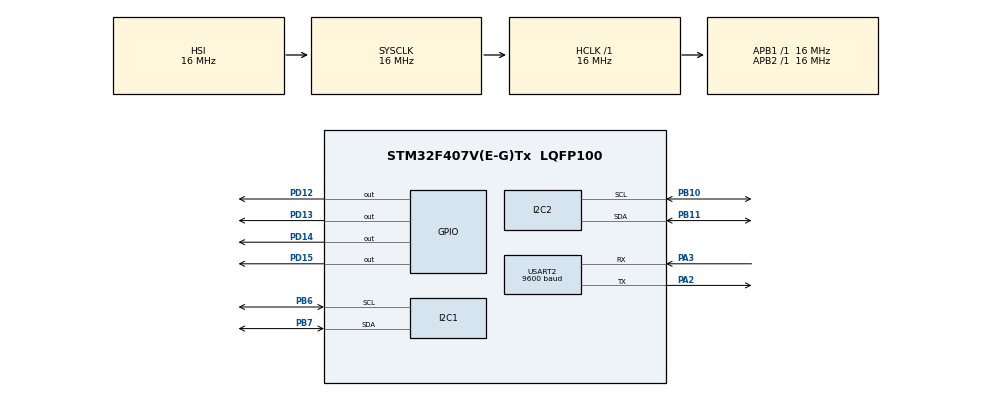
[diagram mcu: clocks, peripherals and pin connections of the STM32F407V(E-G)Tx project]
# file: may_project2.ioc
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Mcu.Family=STM32F4
PH0-OSC_IN.Signal=RCC_OSC_IN
RCC.CortexFreq_Value=16000000
PB10.Mode=I2C
PB11.Signal=I2C2_SDA
USART2.BaudRate=9600
ProjectManager.StackSize=0x400
PD13.Signal=GPIO_Output
PA3.Mode=Asynchronous
PB11.Mode=I2C
ProjectManager.TargetToolchain=MDK-ARM V5.27
PB6.Signal=I2C1_SCL
PB6.Mode=I2C
RCC.LSE_VALUE=32768
RCC.AHBFreq_Value=16000000
PH0-OSC_IN.Mode=HSE-External-Oscillator
PB10.Signal=I2C2_SCL
RCC.HSE_VALUE=25000000
board=custom
RCC.VCOOutputFreq_Value=192000000
RCC.APB2Freq_Value=16000000
PH1-OSC_OUT.Signal=RCC_OSC_OUT
PB7.Signal=I2C1_SDA
Mcu.Name=STM32F407V(E-G)Tx
PA2.Signal=USART2_TX
PD14.Signal=GPIO_Output
PH1-OSC_OUT.Mode=HSE-External-Oscillator
RCC.SYSCLKFreq_VALUE=16000000
Mcu.Package=LQFP100
USART2.VirtualMode=VM_ASYNC
PD12.Signal=GPIO_Output
PB7.Mode=I2C
ProjectManager.HeapSize=0x200
RCC.HSI_VALUE=16000000
NVIC.PriorityGroup=NVIC_PRIORITYGROUP_4
PA2.Mode=Asynchronous
RCC.APB1Freq_Value=16000000
PD15.Signal=GPIO_Output
PA3.Signal=USART2_RX

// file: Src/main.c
/* USER CODE BEGIN Header */
/**
  ******************************************************************************
  * @file           : main.c
  * @brief          : Main program body
  ******************************************************************************
  * @attention
  *
  * <h2><center>&copy; Copyright (c) 2020 STMicroelectronics.
  * All rights reserved.</center></h2>
  *
  * This software component is licensed by ST under BSD 3-Clause license,
  * the "License"; You may not use this file except in compliance with the
  * License. You may obtain a copy of the License at:
  *                        opensource.org/licenses/BSD-3-Clause
  *
  ******************************************************************************
  */
/* USER CODE END Header */

#include "main.h"

/* USER CODE BEGIN Includes */
#include <math.h>
#include  <string.h>
#include  <stdlib.h>
#include  <stdint.h>
#include  <stdio.h>
/* USER CODE END Includes */

/* USER CODE BEGIN PTD */
#define CCS811_ADDR 0xB4 //7-bit unshifted default I2C Address
#define CSS811_STATUS 0x00
#define CSS811_MEAS_MODE 0x01
#define CSS811_ALG_RESULT_DATA 0x02
#define CSS811_RAW_DATA 0x03
#define CSS811_ENV_DATA 0x05
#define CSS811_NTC 0x06
#define CSS811_THRESHOLDS 0x10
#define CSS811_BASELINE 0x11
#define CSS811_HW_ID 0x20
#define CSS811_HW_VERSION 0x21
#define CSS811_FW_BOOT_VERSION 0x23
#define CSS811_FW_APP_VERSION 0x24
#define CSS811_ERROR_ID 0xE0
#define CSS811_APP_START 0xF4
#define CSS811_SW_RESET 0xFF

#define BME280_ADDRESS  0xEC//BME280 I2C ADDRES (0x76<<1)0xEC
#define BME280_REG_ID 0xD0 //BME280 ID REGISTER
#define BME280_ID 0x60 //BME280 I2C ID
#define BME280_REG_SOFTRESET 0xE0 //BME280 SOFT RESET REGISTER
#define BME280_SOFTRESET_VALUE 0xB6 //BME280 SOFT RESET VALUE
#define BME280_REGISTER_STATUS 0XF3 //BME280 STATUS REGISTER
#define BME280_STATUS_MEASURING 0X08 //Running conversion
#define BME280_STATUS_IM_UPDATE 0X01 //NVM data copying
#define BME280_REG_CONFIG 0xF5 // Configuration register
#define BME280_REG_CTRL_HUM 0xF2 // Humidity measure control register
#define BME280_REG_CTRL_MEAS 0xF4 // Control register pressure and temperature measure
#define BME280_REGISTER_DIG_T1 0x88
#define BME280_REGISTER_DIG_T2 0x8A
#define BME280_REGISTER_DIG_T3 0x8C
#define BME280_REGISTER_DIG_P1 0x8E
#define BME280_REGISTER_DIG_P2 0x90
#define BME280_REGISTER_DIG_P3 0x92
#define BME280_REGISTER_DIG_P4 0x94
#define BME280_REGISTER_DIG_P5 0x96
#define BME280_REGISTER_DIG_P6 0x98
#define BME280_REGISTER_DIG_P7 0x9A
#define BME280_REGISTER_DIG_P8 0x9C
#define BME280_REGISTER_DIG_P9 0x9E
#define BME280_REGISTER_DIG_H1 0xA1
#define BME280_REGISTER_DIG_H2 0xE1
#define BME280_REGISTER_DIG_H3 0xE3
#define BME280_REGISTER_DIG_H4 0xE4
#define BME280_REGISTER_DIG_H5 0xE5
#define BME280_REGISTER_DIG_H6 0xE7
#define BME280_STBY_MSK 0xE0
#define BME280_STBY_0_5 0x00
#define BME280_STBY_62_5 0x20
#define BME280_STBY_125 0x40
#define BME280_STBY_250 0x60
#define BME280_STBY_500 0x80
#define BME280_STBY_1000 0xA0
#define BME280_STBY_10 0xC0
#define BME280_STBY_20 0xE0
#define BME280_FILTER_MSK 0x1C
#define BME280_FILTER_OFF 0x00
#define BME280_FILTER_2 0x04
#define BME280_FILTER_4 0x08
#define BME280_FILTER_8 0x0C
#define BME280_FILTER_16 0x10
#define BME280_OSRS_T_MSK 0xE0
#define BME280_OSRS_T_SKIP 0x00
#define BME280_OSRS_T_x1 0x20
#define BME280_OSRS_T_x2 0x40
#define BME280_OSRS_T_x4 0x60
#define BME280_OSRS_T_x8 0x80
#define BME280_OSRS_T_x16 0xA0
#define BME280_OSRS_P_MSK 0x1C
#define BME280_OSRS_P_SKIP 0x00
#define BME280_OSRS_P_x1 0x04
#define BME280_OSRS_P_x2 0x08
#define BME280_OSRS_P_x4 0x0C
#define BME280_OSRS_P_x8 0x10
#define BME280_OSRS_P_x16 0x14
#define BME280_OSRS_H_MSK 0x07
#define BME280_OSRS_H_SKIP 0x00
#define BME280_OSRS_H_x1 0x01
#define BME280_OSRS_H_x2 0x02
#define BME280_OSRS_H_x4 0x03
#define BME280_OSRS_H_x8 0x04
#define BME280_OSRS_H_x16 0x05
#define BME280_MODE_MSK 0x03
#define BME280_MODE_SLEEP 0x00
#define BME280_MODE_FORCED 0x01
#define BME280_MODE_NORMAL 0x03
#define BME280_REGISTER_PRESSUREDATA 0xF7
#define BME280_REGISTER_TEMPDATA 0xFA
#define BME280_REGISTER_HUMIDDATA 0xFD
#define be16toword(a) ((((a)>>8)&0xff)|(((a)<<8)&0xff00))
#define be24toword(a) ((((a)>>16)&0x000000ff)|((a)&0x0000ff00)|(((a)<<16)&0x00ff0000))
#define SEALEVELPRESSURE_HPA (1013.25)
#define SEALEVELPRESSURE_PA (1013250)
/* USER CODE END PTD */

/* USER CODE BEGIN PD */
uint8_t dt;
char buffer[16];
uint32_t restore_Baselines;

uint8_t nr[] = "\n\r";
uint8_t str_sensor1[] = "\nSensor 1: "; //11
uint8_t str_sensor2[] = "\nSensor 2: "; //11
uint8_t str_counter[] = "\nCounter: "; //10
uint8_t str_sum[] = "\nSum: "; //6
uint8_t str_resistance[] = "\nResistance: "; //13
uint8_t str_baseline[] = "\nBaseline: "; //11
uint8_t str_CO2[] = "\nCO2: "; //6
uint8_t str_tVOC[] = "\nVOC: "; //6
uint8_t str_new[] = "\n=== new_While ==="; //18
uint8_t str_sensor_status[] = "\n\rCCS811 status is: "; //20
uint8_t str_hw_id[] = "\n\rCCS811 hw_id is: "; //19
uint8_t str_hw_version[] = "\n\rCCS811 version is: "; //21
uint8_t str_boot_version[] = "\n\rCCS811 boot version is: "; //26
uint8_t str_app_version[] = "\n\rCCS811 app version is: "; //25
uint8_t str_sensor_mode[] = "\n\rCCS811 mode is: "; //18
uint8_t str_excel_tabulation[] = "\t";

typedef struct {
    uint16_t dig_T1;
    int16_t dig_T2;
    int16_t dig_T3;
    uint16_t dig_P1;
    int16_t dig_P2;
    int16_t dig_P3;
    int16_t dig_P4;
    int16_t dig_P5;
    int16_t dig_P6;
    int16_t dig_P7;
    int16_t dig_P8;
    int16_t dig_P9;
    uint8_t dig_H1;
    int16_t dig_H2;
    uint8_t dig_H3;
    int16_t dig_H4;
    int16_t dig_H5;
    int8_t dig_H6;
} BME280_CalibData;
/* USER CODE END PD */

/* USER CODE BEGIN PM */
void ConfigureCCS811(void);

void ReadAlgorithmResults(void);

void SetDriveMode(uint8_t mode);

uint8_t ReadRegister(uint8_t addr);

void WriteRegister(uint8_t addr, uint8_t val);

void CheckSensorInfo(void);

void SensorReset(void);

uint32_t GetSensorResistance(void);

unsigned int GetBaseline(void);

void RestoreBaseline(void);

//BME280
void Error(void);

void BME280_Init(void);

static uint8_t I2Cx_ReadData(uint16_t Addr, uint8_t Reg);

static void I2Cx_WriteData(uint16_t Addr, uint8_t Reg, uint8_t Value);

static void I2Cx_ReadData16(uint16_t Addr, uint8_t Reg, uint16_t *Value);

static void I2Cx_ReadData24(uint16_t Addr, uint8_t Reg, uint32_t *Value);

void BME280_WriteReg(uint8_t Reg, uint8_t Value);

uint8_t BME280_ReadReg(uint8_t Reg);

void BME280_ReadReg_U16(uint8_t Reg, uint16_t *Value);

void BME280_ReadReg_S16(uint8_t Reg, int16_t *Value);

void BME280_ReadCoefficients(void);

void BME280_SetStandby(uint8_t tsb);

void BME280_SetFilter(uint8_t filter);

void BME280_SetOversamplingTemper(uint8_t osrs);

void BME280_SetOversamplingPressure(uint8_t osrs);

void BME280_SetOversamplingHum(uint8_t osrs);

void BME280_SetMode(uint8_t mode);

float BME280_ReadTemperature(void);

float BME280_ReadPressure(void);

float BME280_ReadHumidity(void);

float BME280_ReadAltitude(float seaLevel);

void BME280_ReadReg_U24(uint8_t Reg, uint32_t *Value);

void BME280_ReadReg_BE_U24(uint8_t Reg, uint32_t *Value);

void BME280_ReadReg_BE_S16(uint8_t Reg, int16_t *Value);
/* USER CODE END PM */

I2C_HandleTypeDef hi2c1;
I2C_HandleTypeDef hi2c2;

UART_HandleTypeDef huart2;

void SystemClock_Config(void);

static void MX_GPIO_Init(void);

static void MX_I2C1_Init(void);

static void MX_I2C2_Init(void);

static void MX_USART2_UART_Init(void);

/* USER CODE BEGIN 0 */
unsigned int tVOC = 0;
unsigned int CO2 = 0;

unsigned int tVOC_2 = 0;
unsigned int CO2_2 = 0;

unsigned int CO2_ResultValue = 0;
unsigned int tVOC_ResultValue = 0;

uint16_t adc_raw = 0;
uint8_t current_value = 0;
uint8_t dummyread = 0;
uint8_t appvalue = 0;
uint8_t errvalue = 0;
uint8_t mosetting = 0;
uint8_t dtvalue = 0;
uint8_t appStart = 0;
uint32_t ELBaseline_period = 0;
uint32_t ALBaseline_period = 0;
uint8_t Mode_CCS811 = 1;

//bmp280
char str1[100];
uint8_t value = 0;
uint32_t value32 = 0;
float tf = 0.0f, pf = 0.0f, af = 0.0f, hf = 0.0f;
BME280_CalibData CalibData;
int32_t temper_int;
/* USER CODE END 0 */

int main(void) {

    /* MCU Configuration--------------------------------------------------------*/

    /* Reset of all peripherals, Initializes the Flash interface and the Systick. */
    HAL_Init();

    /* Configure the system clock */
    SystemClock_Config();

    /* Initialize all configured peripherals */
    MX_GPIO_Init();
    MX_I2C1_Init();
    MX_I2C2_Init();
    MX_USART2_UART_Init();

    /* Infinite loop */
    /* USER CODE BEGIN WHILE */
    HAL_GPIO_WritePin(GPIOD, GPIO_PIN_12, GPIO_PIN_SET);
    ConfigureCCS811();
    HAL_GPIO_WritePin(GPIOD, GPIO_PIN_13, GPIO_PIN_SET);
    RestoreBaseline();
    HAL_GPIO_WritePin(GPIOD, GPIO_PIN_14, GPIO_PIN_SET);
    CheckSensorInfo();
    HAL_GPIO_WritePin(GPIOD, GPIO_PIN_15, GPIO_PIN_SET);

    BME280_Init();
    //value = BME280_ReadReg(BME280_REG_ID);

    int counter = 0;
    while (1) {
        //HAL_UART_Transmit(&huart1, str_new, 18, 100);
        HAL_UART_Transmit(&huart2, nr, 1, 100);

        ReadAlgorithmResults();

        HAL_UART_Transmit(&huart2, str_counter, 10, 100);
        HAL_UART_Transmit(&huart2, (uint8_t *) buffer, sprintf(buffer, "%d", counter), 100);
        HAL_UART_Transmit(&huart2, str_CO2, 6, 100);
        HAL_UART_Transmit(&huart2, (uint8_t *) buffer, sprintf(buffer, "%d", CO2), 100);
        HAL_UART_Transmit(&huart2, str_tVOC, 7, 100);
        HAL_UART_Transmit(&huart2, (uint8_t *) buffer, sprintf(buffer, "%d", tVOC), 100);

        tf = BME280_ReadTemperature();
        sprintf(str1, "\nTemperature: %.3f *C", tf);
        HAL_UART_Transmit(&huart2, (uint8_t *) str1, strlen(str1), 0x1000);

        pf = BME280_ReadPressure();
        sprintf(str1, "\nPressure: %.3f Pa; %.3f hPa; %.3f mmHg", pf, pf / 1000.0f, pf * 0.000750061683f);
        HAL_UART_Transmit(&huart2, (uint8_t *) str1, strlen(str1), 0x1000);

        af = BME280_ReadAltitude(SEALEVELPRESSURE_PA);
        sprintf(str1, "\nAltitude: %.3f m", af);
        HAL_UART_Transmit(&huart2, (uint8_t *) str1, strlen(str1), 0x1000);

        hf = BME280_ReadHumidity();
        sprintf(str1, "\nHumidity: %.3f %%", hf);
        HAL_UART_Transmit(&huart2, (uint8_t *) str1, strlen(str1), 0x1000);

        //HAL_UART_Transmit(&huart2, str_excel_tabulation, 1, 100);
        //HAL_UART_Transmit(&huart2, (uint8_t*) buffer, sprintf(buffer, "%d", CO2_2), 100);
        //HAL_UART_Transmit(&huart2, str_excel_tabulation, 1, 100);
        //HAL_UART_Transmit(&huart2, (uint8_t*) buffer, sprintf(buffer, "%d", tVOC_2), 100);

        HAL_Delay(1000);
        HAL_GPIO_TogglePin(GPIOD, GPIO_PIN_15);

        counter++;

        /* USER CODE END WHILE */

    }
}

void SystemClock_Config(void) {
    RCC_OscInitTypeDef RCC_OscInitStruct = {0};
    RCC_ClkInitTypeDef RCC_ClkInitStruct = {0};

    /** Configure the main internal regulator output voltage
    */
    __HAL_RCC_PWR_CLK_ENABLE();
    __HAL_PWR_VOLTAGESCALING_CONFIG(PWR_REGULATOR_VOLTAGE_SCALE1);
    /** Initializes the CPU, AHB and APB busses clocks
    */
    RCC_OscInitStruct.OscillatorType = RCC_OSCILLATORTYPE_HSI;
    RCC_OscInitStruct.HSIState = RCC_HSI_ON;
    RCC_OscInitStruct.HSICalibrationValue = RCC_HSICALIBRATION_DEFAULT;
    RCC_OscInitStruct.PLL.PLLState = RCC_PLL_NONE;
    if (HAL_RCC_OscConfig(&RCC_OscInitStruct) != HAL_OK) {
        Error_Handler();
    }
    /** Initializes the CPU, AHB and APB busses clocks
    */
    RCC_ClkInitStruct.ClockType = RCC_CLOCKTYPE_HCLK | RCC_CLOCKTYPE_SYSCLK
                                  | RCC_CLOCKTYPE_PCLK1 | RCC_CLOCKTYPE_PCLK2;
    RCC_ClkInitStruct.SYSCLKSource = RCC_SYSCLKSOURCE_HSI;
    RCC_ClkInitStruct.AHBCLKDivider = RCC_SYSCLK_DIV1;
    RCC_ClkInitStruct.APB1CLKDivider = RCC_HCLK_DIV1;
    RCC_ClkInitStruct.APB2CLKDivider = RCC_HCLK_DIV1;

    if (HAL_RCC_ClockConfig(&RCC_ClkInitStruct, FLASH_LATENCY_0) != HAL_OK) {
        Error_Handler();
    }
}

static void MX_I2C1_Init(void) {

    hi2c1.Instance = I2C1;
    hi2c1.Init.ClockSpeed = 100000;
    hi2c1.Init.DutyCycle = I2C_DUTYCYCLE_2;
    hi2c1.Init.OwnAddress1 = 0;
    hi2c1.Init.AddressingMode = I2C_ADDRESSINGMODE_7BIT;
    hi2c1.Init.DualAddressMode = I2C_DUALADDRESS_DISABLE;
    hi2c1.Init.OwnAddress2 = 0;
    hi2c1.Init.GeneralCallMode = I2C_GENERALCALL_DISABLE;
    hi2c1.Init.NoStretchMode = I2C_NOSTRETCH_DISABLE;
    if (HAL_I2C_Init(&hi2c1) != HAL_OK) {
        Error_Handler();
    }

}

static void MX_I2C2_Init(void) {

    hi2c2.Instance = I2C2;
    hi2c2.Init.ClockSpeed = 100000;
    hi2c2.Init.DutyCycle = I2C_DUTYCYCLE_2;
    hi2c2.Init.OwnAddress1 = 0;
    hi2c2.Init.AddressingMode = I2C_ADDRESSINGMODE_7BIT;
    hi2c2.Init.DualAddressMode = I2C_DUALADDRESS_DISABLE;
    hi2c2.Init.OwnAddress2 = 0;
    hi2c2.Init.GeneralCallMode = I2C_GENERALCALL_DISABLE;
    hi2c2.Init.NoStretchMode = I2C_NOSTRETCH_DISABLE;
    if (HAL_I2C_Init(&hi2c2) != HAL_OK) {
        Error_Handler();
    }

}

static void MX_USART2_UART_Init(void) {

    huart2.Instance = USART2;
    huart2.Init.BaudRate = 9600;
    huart2.Init.WordLength = UART_WORDLENGTH_8B;
    huart2.Init.StopBits = UART_STOPBITS_1;
    huart2.Init.Parity = UART_PARITY_NONE;
    huart2.Init.Mode = UART_MODE_TX_RX;
    huart2.Init.HwFlowCtl = UART_HWCONTROL_NONE;
    huart2.Init.OverSampling = UART_OVERSAMPLING_16;
    if (HAL_UART_Init(&huart2) != HAL_OK) {
        Error_Handler();
    }

}

static void MX_GPIO_Init(void) {
    GPIO_InitTypeDef GPIO_InitStruct = {0};

    /* GPIO Ports Clock Enable */
    __HAL_RCC_GPIOH_CLK_ENABLE();
    __HAL_RCC_GPIOA_CLK_ENABLE();
    __HAL_RCC_GPIOB_CLK_ENABLE();
    __HAL_RCC_GPIOD_CLK_ENABLE();

    /*Configure GPIO pin Output Level */
    HAL_GPIO_WritePin(GPIOD, GPIO_PIN_12 | GPIO_PIN_13 | GPIO_PIN_14 | GPIO_PIN_15, GPIO_PIN_RESET);

    /*Configure GPIO pins : PD12 PD13 PD14 PD15 */
    GPIO_InitStruct.Pin = GPIO_PIN_12 | GPIO_PIN_13 | GPIO_PIN_14 | GPIO_PIN_15;
    GPIO_InitStruct.Mode = GPIO_MODE_OUTPUT_PP;
    GPIO_InitStruct.Pull = GPIO_NOPULL;
    GPIO_InitStruct.Speed = GPIO_SPEED_FREQ_LOW;
    HAL_GPIO_Init(GPIOD, &GPIO_InitStruct);

}

/* USER CODE BEGIN 4 */

void ConfigureCCS811() {
    HAL_Delay(69);
    //Verify the hardware ID is what we expect
    uint8_t hwID = ReadRegister(0x20); //Hardware ID should be 0x81
    if (hwID != 0x81) { //Serial.println("CCS811 not found. Please check wiring.");
        while (1); //Freeze
    }
    uint8_t lodata[1];
    lodata[0] = CSS811_APP_START;
    HAL_I2C_Master_Transmit(&hi2c1, CCS811_ADDR, lodata, 1, 100);
    HAL_Delay(20);
    SetDriveMode(Mode_CCS811); //Read every second
    HAL_Delay(10);
}

void ReadAlgorithmResults() {
    uint8_t data_rq[4];
    uint8_t status = HAL_I2C_Mem_Read(&hi2c1, CCS811_ADDR, (uint8_t) CSS811_ALG_RESULT_DATA, I2C_MEMADD_SIZE_8BIT,
                                      data_rq, 4, 100);
    uint8_t co2MSB = data_rq[0];
    uint8_t co2LSB = data_rq[1];
    uint8_t tvocMSB = data_rq[2];
    uint8_t tvocLSB = data_rq[3];
/*  TVOC value, in parts per billion (ppb)
		eC02 value, in parts per million (ppm)*/
    CO2 = ((unsigned int) co2MSB << 8) | co2LSB;
    tVOC = ((unsigned int) tvocMSB << 8) | tvocLSB;
}

void SetDriveMode(uint8_t mode) {
    if (mode > 4) mode = 4; //Error correction
    mosetting = ReadRegister(CSS811_MEAS_MODE); //Read what's currently there
    mosetting &= ~(7 << 4); //Clear DRIVE_MODE bits
    mosetting |= (mode << 4); //Mask in mode
    WriteRegister(CSS811_MEAS_MODE, mosetting);
    mosetting = ReadRegister(CSS811_MEAS_MODE); //Read what's currently there
}

void WriteRegister(uint8_t addr, uint8_t val) {
    HAL_I2C_Mem_Write(&hi2c1, CCS811_ADDR, (uint8_t) addr, I2C_MEMADD_SIZE_8BIT, &val, 1, 300);
    while (HAL_I2C_GetState(&hi2c1) != HAL_I2C_STATE_READY) {}
    while (HAL_I2C_IsDeviceReady(&hi2c1, CCS811_ADDR, 10, 300) == HAL_TIMEOUT);
    while (HAL_I2C_GetState(&hi2c1) != HAL_I2C_STATE_READY) {}
}

uint8_t ReadRegister(uint8_t addr) {
    uint8_t dt;
    HAL_I2C_Mem_Read(&hi2c1, CCS811_ADDR, (uint8_t) addr, 1, &dt, 1, 300);
    while (HAL_I2C_GetState(&hi2c1) != HAL_I2C_STATE_READY);
    return dt;
}

void CheckSensorInfo(void) {
    uint16_t temp = 0;
    temp = ReadRegister(0x00);
    HAL_UART_Transmit(&huart2, str_sensor_status, 20, 100);
    HAL_UART_Transmit(&huart2, (uint8_t *) buffer, sprintf(buffer, "%d", temp), 100);

    temp = ReadRegister(0x20);
    HAL_UART_Transmit(&huart2, str_hw_id, 19, 100);
    HAL_UART_Transmit(&huart2, (uint8_t *) buffer, sprintf(buffer, "%d", temp), 100);

    temp = ReadRegister(0x21);
    HAL_UART_Transmit(&huart2, str_hw_version, 21, 100);
    HAL_UART_Transmit(&huart2, (uint8_t *) buffer, sprintf(buffer, "%d", temp), 100);

    temp = ReadRegister(0x23);
    HAL_UART_Transmit(&huart2, str_boot_version, 26, 100);
    HAL_UART_Transmit(&huart2, (uint8_t *) buffer, sprintf(buffer, "%d", temp), 100);

    temp = ReadRegister(0x24);
    HAL_UART_Transmit(&huart2, str_app_version, 25, 100);
    HAL_UART_Transmit(&huart2, (uint8_t *) buffer, sprintf(buffer, "%d", temp), 100);

    temp = ReadRegister(0x01);
    HAL_UART_Transmit(&huart2, str_sensor_mode, 18, 100);
    HAL_UART_Transmit(&huart2, (uint8_t *) buffer, sprintf(buffer, "%d", temp), 100);
    HAL_UART_Transmit(&huart2, nr, 1, 100);
}

void SensorReset(void) {
    uint8_t rstCMD[5] = {CSS811_SW_RESET, 0x11, 0xE5, 0x72, 0x8A};
    HAL_I2C_Mem_Write(&hi2c1, CCS811_ADDR, CSS811_SW_RESET, I2C_MEMADD_SIZE_8BIT, rstCMD, 5, 300);
    while (HAL_I2C_GetState(&hi2c1) != HAL_I2C_STATE_READY);
}

/*
  * @brief  	 //restore the baseline value
	//Used for telling sensor what 'clean' air is
	//You must put the sensor in clean air and record this value
  * @param  NONE.
  * @retval NONE.
*/
void RestoreBaseline() {
    uint32_t restore_Baseline = 30000;
    //restore_Baseline= * ((  uint32_t *)DATA_EEPROM_BASE);
    restore_Baselines = restore_Baseline;
    uint8_t res_bs[2];
    res_bs[0] = restore_Baseline >> 8;
    res_bs[1] = restore_Baseline & 0x000000FF;
    HAL_I2C_Mem_Write(&hi2c1, CCS811_ADDR, CSS811_BASELINE, I2C_MEMADD_SIZE_8BIT, res_bs, 2, 300);
    while (HAL_I2C_GetState(&hi2c1) != HAL_I2C_STATE_READY) {}
}

/*
  * @brief  	//Returns the baseline value and saves into EEPROM
	//Used for telling sensor what 'clean' air is
	//You must put the sensor in clean air and record this value
  * @param  NONE.
  * @retval BASELINE VALUE.
 */
unsigned int GetBaseline() {
    uint8_t ada[2];
    HAL_StatusTypeDef status = HAL_OK;
    if (status) {}
    status = HAL_I2C_Mem_Read(&hi2c1, CCS811_ADDR, (uint8_t) CSS811_BASELINE, 1, ada, 2, 100);
    while (HAL_I2C_GetState(&hi2c1) != HAL_I2C_STATE_READY) {}
    while (HAL_I2C_IsDeviceReady(&hi2c1, CCS811_ADDR, 10, 300) == HAL_TIMEOUT);
    while (HAL_I2C_GetState(&hi2c1) != HAL_I2C_STATE_READY) {}

    uint8_t baselineMSB = ada[0];
    uint8_t baselineLSB = ada[1];

    unsigned int baseline = ((unsigned int) baselineMSB << 8) | baselineLSB;
    //HAL_FLASHEx_DATAEEPROM_Unlock();
    //HAL_FLASHEx_DATAEEPROM_Program(FLASH_TYPEPROGRAMDATA_WORD, DATA_EEPROM_BASE, baseline);
    return (baseline);
}

uint32_t GetSensorResistance() {
    uint8_t sensor_Resistance_raw[2];
    uint32_t sensor_Resistance;
    HAL_I2C_Mem_Read(&hi2c1, CCS811_ADDR, CSS811_RAW_DATA, I2C_MEMADD_SIZE_8BIT, sensor_Resistance_raw, 2, 100);
    current_value = sensor_Resistance_raw[0] >> 2;
    sensor_Resistance_raw[0] = sensor_Resistance_raw[0] & 0x03;
    adc_raw = (sensor_Resistance_raw[0] << 8) | sensor_Resistance_raw[1];
    sensor_Resistance = ((165 * adc_raw) * 10000) / (current_value * 1023);
    return sensor_Resistance;
}

/* BME280 */
void Error(void) {
    while (1);
}

uint8_t BME280_ReadStatus(void) {
    //clear unuset bits
    uint8_t res = BME280_ReadReg(BME280_REGISTER_STATUS) & 0x09;
    return res;
}

void BME280_Init(void) {
    value = BME280_ReadReg(BME280_REG_ID);
    HAL_UART_Transmit(&huart2, nr, 1, 100);
    HAL_UART_Transmit(&huart2, (uint8_t *) buffer, sprintf(buffer, "%d", value), 100);
    HAL_UART_Transmit(&huart2, nr, 1, 100);
    if (value != BME280_ID) {
        Error();
    }
    BME280_WriteReg(BME280_REG_SOFTRESET, BME280_SOFTRESET_VALUE);
    while (BME280_ReadStatus() & BME280_STATUS_IM_UPDATE);
    BME280_ReadCoefficients();
    BME280_SetStandby(BME280_STBY_1000);
    BME280_SetFilter(BME280_FILTER_4);
    BME280_SetOversamplingTemper(BME280_OSRS_T_x4);
    BME280_SetOversamplingPressure(BME280_OSRS_P_x1);
    BME280_SetOversamplingHum(BME280_OSRS_H_x1);
    value32 = BME280_ReadReg(BME280_REG_CTRL_MEAS);
    value32 |= BME280_ReadReg(BME280_REG_CTRL_HUM) << 8;
    sprintf(str1, "\nMeasurements status: %04X", value32);
    HAL_UART_Transmit(&huart2, (uint8_t *) str1, strlen(str1), 0x1000);
    sprintf(str1, "\nTemperature: %s\nPressure: %s\nHumidity: %s",
            (value32 & BME280_OSRS_T_MSK) ? "ON" : "OFF",
            (value32 & BME280_OSRS_P_MSK) ? "ON" : "OFF",
            ((value32 >> 8) & BME280_OSRS_H_MSK) ? "ON" : "OFF");
    HAL_UART_Transmit(&huart2, (uint8_t *) str1, strlen(str1), 0x1000);
    BME280_SetMode(BME280_MODE_NORMAL);
}

static void I2Cx_WriteData(uint16_t Addr, uint8_t Reg, uint8_t Value) {
    HAL_StatusTypeDef status = HAL_OK;
    status = HAL_I2C_Mem_Write(&hi2c2, Addr, (uint16_t) Reg, I2C_MEMADD_SIZE_8BIT, &Value, 1, 0x10000);
    if (status != HAL_OK) Error();
}

//------------------------------------------------

static uint8_t I2Cx_ReadData(uint16_t Addr, uint8_t Reg) {
    HAL_StatusTypeDef status = HAL_OK;
    uint8_t value = 0;
    status = HAL_I2C_Mem_Read(&hi2c2, Addr, Reg, I2C_MEMADD_SIZE_8BIT, &value, 1, 0x10000);
    if (status != HAL_OK) Error();
    return value;
}

static void I2Cx_ReadData16(uint16_t Addr, uint8_t Reg, uint16_t *Value) {
    HAL_StatusTypeDef status = HAL_OK;
    status = HAL_I2C_Mem_Read(&hi2c2, Addr, Reg, I2C_MEMADD_SIZE_8BIT, (uint8_t *) Value, 2, 0x10000);
    if (status != HAL_OK) Error();
}

//------------------------------------------------

static void I2Cx_ReadData24(uint16_t Addr, uint8_t Reg, uint32_t *Value) {
    HAL_StatusTypeDef status = HAL_OK;
    status = HAL_I2C_Mem_Read(&hi2c2, Addr, Reg, I2C_MEMADD_SIZE_8BIT, (uint8_t *) Value, 3, 0x10000);
    if (status != HAL_OK) Error();
}

void BME280_WriteReg(uint8_t Reg, uint8_t Value) {
    I2Cx_WriteData(BME280_ADDRESS, Reg, Value);
}

uint8_t BME280_ReadReg(uint8_t Reg) {
    uint8_t res = I2Cx_ReadData(BME280_ADDRESS, Reg);
    return res;
}

void BME280_ReadReg_U16(uint8_t Reg, uint16_t *Value) {
    I2Cx_ReadData16(BME280_ADDRESS, Reg, Value);
}

void BME280_ReadReg_S16(uint8_t Reg, int16_t *Value) {
    I2Cx_ReadData16(BME280_ADDRESS, Reg, (uint16_t *) Value);
}

void BME280_ReadCoefficients(void) {
    BME280_ReadReg_U16(BME280_REGISTER_DIG_T1, &CalibData.dig_T1);
    sprintf(str1, "DIG_T1: %urn", CalibData.dig_T1);
    HAL_UART_Transmit(&huart2, (uint8_t *) str1, strlen(str1), 0x1000);
    BME280_ReadReg_S16(BME280_REGISTER_DIG_T2, &CalibData.dig_T2);
    sprintf(str1, "DIG_T2: %drn", CalibData.dig_T2);
    HAL_UART_Transmit(&huart2, (uint8_t *) str1, strlen(str1), 0x1000);
    BME280_ReadReg_S16(BME280_REGISTER_DIG_T3, &CalibData.dig_T3);
    sprintf(str1, "DIG_T3: %drn", CalibData.dig_T3);
    HAL_UART_Transmit(&huart2, (uint8_t *) str1, strlen(str1), 0x1000);
    BME280_ReadReg_U16(BME280_REGISTER_DIG_P1, &CalibData.dig_P1);
    sprintf(str1, "DIG_P1: %urn", CalibData.dig_P1);
    HAL_UART_Transmit(&huart2, (uint8_t *) str1, strlen(str1), 0x1000);
    BME280_ReadReg_S16(BME280_REGISTER_DIG_P2, &CalibData.dig_P2);
    sprintf(str1, "DIG_P2: %drn", CalibData.dig_P2);
    HAL_UART_Transmit(&huart2, (uint8_t *) str1, strlen(str1), 0x1000);
    BME280_ReadReg_S16(BME280_REGISTER_DIG_P3, &CalibData.dig_P3);
    sprintf(str1, "DIG_P3: %drn", CalibData.dig_P3);
    HAL_UART_Transmit(&huart2, (uint8_t *) str1, strlen(str1), 0x1000);
    BME280_ReadReg_S16(BME280_REGISTER_DIG_P4, &CalibData.dig_P4);
    sprintf(str1, "DIG_P4: %drn", CalibData.dig_P4);
    HAL_UART_Transmit(&huart2, (uint8_t *) str1, strlen(str1), 0x1000);
    BME280_ReadReg_S16(BME280_REGISTER_DIG_P5, &CalibData.dig_P5);
    sprintf(str1, "DIG_P5: %drn", CalibData.dig_P5);
    HAL_UART_Transmit(&huart2, (uint8_t *) str1, strlen(str1), 0x1000);
    BME280_ReadReg_S16(BME280_REGISTER_DIG_P6, &CalibData.dig_P6);
    sprintf(str1, "DIG_P6: %drn", CalibData.dig_P6);
    HAL_UART_Transmit(&huart2, (uint8_t *) str1, strlen(str1), 0x1000);
    BME280_ReadReg_S16(BME280_REGISTER_DIG_P7, &CalibData.dig_P7);
    sprintf(str1, "DIG_P7: %drn", CalibData.dig_P7);
    HAL_UART_Transmit(&huart2, (uint8_t *) str1, strlen(str1), 0x1000);
    BME280_ReadReg_S16(BME280_REGISTER_DIG_P8, &CalibData.dig_P8);
    sprintf(str1, "DIG_P8: %drn", CalibData.dig_P8);
    HAL_UART_Transmit(&huart2, (uint8_t *) str1, strlen(str1), 0x1000);
    BME280_ReadReg_S16(BME280_REGISTER_DIG_P9, &CalibData.dig_P9);
    sprintf(str1, "DIG_P9: %drn", CalibData.dig_P9);
    HAL_UART_Transmit(&huart2, (uint8_t *) str1, strlen(str1), 0x1000);
    CalibData.dig_H1 = BME280_ReadReg(BME280_REGISTER_DIG_H1);
    sprintf(str1, "DIG_H1: %drn", CalibData.dig_H1);
    HAL_UART_Transmit(&huart2, (uint8_t *) str1, strlen(str1), 0x1000);
    BME280_ReadReg_S16(BME280_REGISTER_DIG_H2, &CalibData.dig_H2);
    sprintf(str1, "DIG_H2: %drn", CalibData.dig_H2);
    HAL_UART_Transmit(&huart2, (uint8_t *) str1, strlen(str1), 0x1000);
    CalibData.dig_H3 = BME280_ReadReg(BME280_REGISTER_DIG_H3);
    sprintf(str1, "DIG_H3: %drn", CalibData.dig_H3);
    HAL_UART_Transmit(&huart2, (uint8_t *) str1, strlen(str1), 0x1000);
    CalibData.dig_H4 =
            (BME280_ReadReg(BME280_REGISTER_DIG_H4) << 4) | (BME280_ReadReg(BME280_REGISTER_DIG_H4 + 1) & 0xF);
    sprintf(str1, "DIG_H4: %drn", CalibData.dig_H4);
    HAL_UART_Transmit(&huart2, (uint8_t *) str1, strlen(str1), 0x1000);
    CalibData.dig_H5 =
            (BME280_ReadReg(BME280_REGISTER_DIG_H5 + 1) << 4) | (BME280_ReadReg(BME280_REGISTER_DIG_H5) >> 4);
    sprintf(str1, "DIG_H5: %drn", CalibData.dig_H5);
    HAL_UART_Transmit(&huart2, (uint8_t *) str1, strlen(str1), 0x1000);
    CalibData.dig_H6 = (int8_t) BME280_ReadReg(BME280_REGISTER_DIG_H6);
    sprintf(str1, "DIG_H6: %drn", CalibData.dig_H3);
    HAL_UART_Transmit(&huart2, (uint8_t *) str1, strlen(str1), 0x1000);
}

void BME280_SetStandby(uint8_t tsb) {
    uint8_t reg;
    reg = BME280_ReadReg(BME280_REG_CONFIG) & ~BME280_STBY_MSK;
    reg |= tsb & BME280_STBY_MSK;
    BME280_WriteReg(BME280_REG_CONFIG, reg);
}

void BME280_SetFilter(uint8_t filter) {
    uint8_t reg;
    reg = BME280_ReadReg(BME280_REG_CONFIG) & ~BME280_FILTER_MSK;
    reg |= filter & BME280_FILTER_MSK;
    BME280_WriteReg(BME280_REG_CONFIG, reg);
}

void BME280_SetOversamplingTemper(uint8_t osrs) {
    uint8_t reg;
    reg = BME280_ReadReg(BME280_REG_CTRL_MEAS) & ~BME280_OSRS_T_MSK;
    reg |= osrs & BME280_OSRS_T_MSK;
    BME280_WriteReg(BME280_REG_CTRL_MEAS, reg);
}

//------------------------------------------------
void BME280_SetOversamplingPressure(uint8_t osrs) {
    uint8_t reg;
    reg = BME280_ReadReg(BME280_REG_CTRL_MEAS) & ~BME280_OSRS_P_MSK;
    reg |= osrs & BME280_OSRS_P_MSK;
    BME280_WriteReg(BME280_REG_CTRL_MEAS, reg);
}

//------------------------------------------------
void BME280_SetOversamplingHum(uint8_t osrs) {
    uint8_t reg;
    reg = BME280_ReadReg(BME280_REG_CTRL_HUM) & ~BME280_OSRS_H_MSK;
    reg |= osrs & BME280_OSRS_H_MSK;
    BME280_WriteReg(BME280_REG_CTRL_HUM, reg);
    //The 'ctrl_hum' register needs to be written
    //after changing 'ctrl_hum' for the changes to become effwctive.
    reg = BME280_ReadReg(BME280_REG_CTRL_MEAS);
    BME280_WriteReg(BME280_REG_CTRL_MEAS, reg);
}

void BME280_SetMode(uint8_t mode) {
    uint8_t reg;
    reg = BME280_ReadReg(BME280_REG_CTRL_MEAS) & ~BME280_MODE_MSK;
    reg |= mode & BME280_MODE_MSK;
    BME280_WriteReg(BME280_REG_CTRL_MEAS, reg);
}

//------------------------------------------------
float BME280_ReadTemperature(void) {
    float temper_float = 0.0f;
    int temper_raw;
    int32_t val1, val2;
    BME280_ReadReg_BE_U24(BME280_REGISTER_TEMPDATA, &temper_raw);
    temper_raw >>= 4;
    //sprintf(str1, "Temperature RAW: 0x%08Xrn", temper_raw);
    //HAL_UART_Transmit(&huart2,(uint8_t*)str1,strlen(str1),0x1000);
    val1 = ((((temper_raw >> 3) - ((int32_t) CalibData.dig_T1 << 1))) *
            ((int32_t) CalibData.dig_T2)) >> 11;
    /*val2 = (((((temper_raw>>4) - ((int32_t)CalibData.dig_T1)) *
    ((temper_raw>>4) - ((int32_t)CalibData.dig_T1))) >> 12) *
    ((int32_t)CalibData.dig_T3)) >> 14;*/
    val2 = (int32_t)(((((temper_raw >> 4) - CalibData.dig_T1) *
                       ((temper_raw >> 4) - CalibData.dig_T1)) >> 12) * CalibData.dig_T3) >> 14;
    temper_int = val1 + val2;
    temper_float = ((temper_int * 5 + 128) >> 8);
    temper_float /= 100.0f;
    return temper_float;

}

//------------------------------------------------
float BME280_ReadPressure(void) {
    float press_float = 0.0f;
    uint32_t press_raw, pres_int;
    int64_t val1, val2, p;
    BME280_ReadTemperature(); // must be done first to get t_fine
    BME280_ReadReg_BE_U24(BME280_REGISTER_PRESSUREDATA, &press_raw);
    press_raw >>= 4;
    val1 = ((int64_t) temper_int) - 128000;
    val2 = val1 * val1 * (int64_t) CalibData.dig_P6;
    val2 = val2 + ((val1 * (int64_t) CalibData.dig_P5) << 17);
    val2 = val2 + ((int64_t) CalibData.dig_P4 << 35);
    val1 = ((val1 * val1 * (int64_t) CalibData.dig_P3) >> 8) + ((val1 * (int64_t) CalibData.dig_P2) << 12);
    val1 = (((((int64_t) 1) << 47) + val1)) * ((int64_t) CalibData.dig_P1) >> 33;
    if (val1 == 0) {
        return 0; // avoid exception caused by division by zero
    }
    p = 1048576 - press_raw;
    p = (((p << 31) - val2) * 3125) / val1;
    val1 = (((int64_t) CalibData.dig_P9) * (p >> 13) * (p >> 13)) >> 25;
    val2 = (((int64_t) CalibData.dig_P8) * p) >> 19;
    p = ((p + val1 + val2) >> 8) + ((int64_t) CalibData.dig_P7 << 4);
    pres_int = ((p >> 8) * 1000) + (((p & 0xff) * 390625) / 100000);
    press_float = pres_int / 100.0f;

    return press_float;
}

//------------------------------------------------
float BME280_ReadHumidity(void) {
    float hum_float = 0.0f;
    int16_t hum_raw;
    int32_t hum_raw_sign, v_x1_u32r;
    BME280_ReadTemperature(); // must be done first to get t_fine
    BME280_ReadReg_BE_S16(BME280_REGISTER_HUMIDDATA, &hum_raw);
    hum_raw_sign = ((int32_t) hum_raw) & 0x0000FFFF;
    //sprintf(str1, "Humidity RAW: 0x%08X\r\n", hum_raw_sign);
    //HAL_UART_Transmit(&huart2,(uint8_t*)str1,strlen(str1),0x1000);
    v_x1_u32r = (temper_int - ((int32_t) 76800));
    v_x1_u32r = (((((hum_raw_sign << 14) - (((int32_t) CalibData.dig_H4) << 20) -
                    (((int32_t) CalibData.dig_H5) * v_x1_u32r)) + ((int32_t) 16384)) >> 15) *
                 (((((((v_x1_u32r * ((int32_t) CalibData.dig_H6)) >> 10) *
                      (((v_x1_u32r * ((int32_t) CalibData.dig_H3)) >> 11) + ((int32_t) 32768))) >> 10) +
                    ((int32_t) 2097152)) * ((int32_t) CalibData.dig_H2) + 8192) >> 14));
    v_x1_u32r = (v_x1_u32r - (((((v_x1_u32r >> 15) * (v_x1_u32r >> 15)) >> 7) *
                               ((int32_t) CalibData.dig_H1)) >> 4));
    v_x1_u32r = (v_x1_u32r < 0) ? 0 : v_x1_u32r;
    v_x1_u32r = (v_x1_u32r > 419430400) ? 419430400 : v_x1_u32r;
    hum_float = (v_x1_u32r >> 12);
    hum_float /= 1024.0f;
    return hum_float;
}

//------------------------------------------------
float BME280_ReadAltitude(float seaLevel) {
    float att = 0.0f;
    float atm = BME280_ReadPressure();
    att = 44330.0 * (1.0 - pow(atm / seaLevel, 0.1903));
    return att;
}

void BME280_ReadReg_U24(uint8_t Reg, uint32_t *Value) {
    I2Cx_ReadData24(BME280_ADDRESS, Reg, Value);
    *(uint32_t *) Value &= 0x00FFFFFF;
}

void BME280_ReadReg_BE_U24(uint8_t Reg, uint32_t *Value) {
    I2Cx_ReadData24(BME280_ADDRESS, Reg, Value);
    *(uint32_t *) Value = be24toword(*(uint32_t *) Value) & 0x00FFFFFF;
}

void BME280_ReadReg_BE_S16(uint8_t Reg, int16_t *Value) {
    I2Cx_ReadData16(BME280_ADDRESS, Reg, (uint16_t *) Value);
    *(uint16_t *) Value = be16toword(*(uint16_t *) Value);
}
//------------------------------------------------
//------------------------------------------------

/* USER CODE END 4 */

void Error_Handler(void) {
}

/************************ (C) COPYRIGHT STMicroelectronics *****END OF FILE****/
